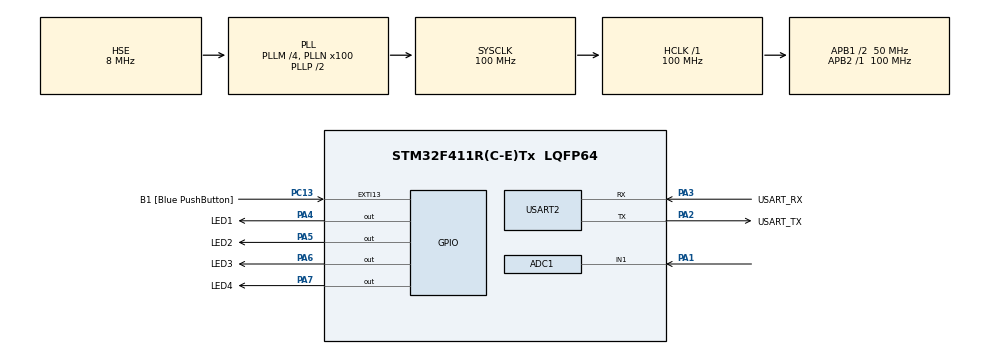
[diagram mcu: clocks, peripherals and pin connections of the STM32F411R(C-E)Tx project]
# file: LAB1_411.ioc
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ADC1.Channel-0\#ChannelRegularConversion=ADC_CHANNEL_1
ADC1.NbrOfConversionFlag=1
ADC1.Rank-0\#ChannelRegularConversion=1
ADC1.SamplingTime-0\#ChannelRegularConversion=ADC_SAMPLETIME_3CYCLES
ADC1.master=1
FREERTOS.INCLUDE_vTaskDelayUntil=1
FREERTOS.Tasks01=BlinkingLed1,0,512,Led1Start,Default,NULL,Dynamic,NULL,NULL;BlinkingLed2,-3,512,Led2Start,Default,NULL,Dynamic,NULL,NULL;BlinkingLed3,-3,512,Led3Start,Default,NULL,Dynamic,NULL,NULL;BlinkingLed4,-3,512,Led4Start,Default,NULL,Dynamic,NULL,NULL;TaskManager,-3,512,TaskManagerStart,Default,NULL,Dynamic,NULL,NULL
FREERTOS.configCHECK_FOR_STACK_OVERFLOW=2
FREERTOS.configENABLE_FPU=1
FREERTOS.configTOTAL_HEAP_SIZE=65536
FREERTOS.configUSE_IDLE_HOOK=1
FREERTOS.configUSE_NEWLIB_REENTRANT=1
FREERTOS.configUSE_POSIX_ERRNO=1
FREERTOS.configUSE_TICK_HOOK=1
Mcu.Family=STM32F4
Mcu.Name=STM32F411R(C-E)Tx
Mcu.Package=LQFP64
NVIC.EXTI15_10_IRQn=true\:5\:0\:false\:false\:true\:true\:true\:true\:true
NVIC.PriorityGroup=NVIC_PRIORITYGROUP_4
NVIC.TIM1_TRG_COM_TIM11_IRQn=true\:15\:0\:false\:false\:true\:false\:false\:true\:true
NVIC.TimeBase=TIM1_TRG_COM_TIM11_IRQn
NVIC.TimeBaseIP=TIM11
PA1.Signal=ADCx_IN1
PA13.GPIO_Label=TMS
PA13.Mode=Serial_Wire
PA13.Signal=SYS_JTMS-SWDIO
PA14.GPIO_Label=TCK
PA14.Mode=Serial_Wire
PA14.Signal=SYS_JTCK-SWCLK
PA2.GPIO_Label=USART_TX
PA2.Mode=Asynchronous
PA2.Signal=USART2_TX
PA3.GPIO_Label=USART_RX
PA3.Mode=Asynchronous
PA3.Signal=USART2_RX
PA4.GPIO_Label=LED1
PA4.Signal=GPIO_Output
PA5.GPIO_Label=LED2
PA5.Signal=GPIO_Output
PA6.GPIO_Label=LED3
PA6.Signal=GPIO_Output
PA7.GPIO_Label=LED4
PA7.Signal=GPIO_Output
PB3.GPIO_Label=SWO
PB3.Signal=SYS_JTDO-SWO
PC13-ANTI_TAMP.GPIO_Label=B1 [Blue PushButton]
PC13-ANTI_TAMP.GPIO_ModeDefaultEXTI=GPIO_MODE_IT_FALLING
PC13-ANTI_TAMP.Signal=GPXTI13
PC14-OSC32_IN.Mode=LSE-External-Oscillator
PC14-OSC32_IN.Signal=RCC_OSC32_IN
PC15-OSC32_OUT.Mode=LSE-External-Oscillator
PC15-OSC32_OUT.Signal=RCC_OSC32_OUT
PH0\ -\ OSC_IN.Mode=HSE-External-Clock-Source
PH0\ -\ OSC_IN.Signal=RCC_OSC_IN
PH1\ -\ OSC_OUT.Mode=HSE-External-Clock-Source
PH1\ -\ OSC_OUT.Signal=RCC_OSC_OUT
ProjectManager.HeapSize=0x200
ProjectManager.StackSize=0x400
ProjectManager.TargetToolchain=STM32CubeIDE
RCC.48MHZClocksFreq_Value=50000000
RCC.AHBFreq_Value=100000000
RCC.APB1CLKDivider=RCC_HCLK_DIV2
RCC.APB1Freq_Value=50000000
RCC.APB1TimFreq_Value=100000000
RCC.APB2Freq_Value=100000000
RCC.APB2TimFreq_Value=100000000
RCC.CortexFreq_Value=100000000
RCC.FLatency-AdvancedSettings=FLASH_LATENCY_3
RCC.HCLKFreq_Value=100000000
RCC.HSE_VALUE=8000000
RCC.HSI_VALUE=16000000
RCC.PLLM=4
RCC.PLLN=100
RCC.PLLSourceVirtual=RCC_PLLSOURCE_HSE
RCC.SYSCLKFreq_VALUE=100000000
RCC.SYSCLKSource=RCC_SYSCLKSOURCE_PLLCLK
RCC.VCOOutputFreq_Value=200000000
SH.ADCx_IN1.0=ADC1_IN1,IN1
USART2.VirtualMode=VM_ASYNC
VP_FREERTOS_VS_CMSIS_V1.Mode=CMSIS_V1
VP_SYS_VS_tim11.Mode=TIM11
board=NUCLEO-F411RE

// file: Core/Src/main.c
/* USER CODE BEGIN Header */
/**
  ******************************************************************************
  * @file           : main.c
  * @brief          : Main program body
  ******************************************************************************
  * @attention
  *
  * Copyright (c) 2026 STMicroelectronics.
  * All rights reserved.
  *
  * This software is licensed under terms that can be found in the LICENSE file
  * in the root directory of this software component.
  * If no LICENSE file comes with this software, it is provided AS-IS.
  *
  ******************************************************************************
  */
/* USER CODE END Header */
#include "main.h"
#include "cmsis_os.h"
#include "adc.h"
#include "usart.h"
#include "gpio.h"

void SystemClock_Config(void);
void MX_FREERTOS_Init(void);

/* USER CODE BEGIN 0 */
int __io_putchar(int ch){
	HAL_UART_Transmit(&huart2, (uint8_t *)&ch, 1,0xFFFF);
	return ch;
}

/* USER CODE END 0 */

int main(void)
{

  /* MCU Configuration--------------------------------------------------------*/

  /* Reset of all peripherals, Initializes the Flash interface and the Systick. */
  HAL_Init();

  /* Configure the system clock */
  SystemClock_Config();

  /* Initialize all configured peripherals */
  MX_GPIO_Init();
  MX_USART2_UART_Init();
  MX_ADC1_Init();

  /* Call init function for freertos objects (in cmsis_os2.c) */
  MX_FREERTOS_Init();

  /* Start scheduler */
  osKernelStart();

  /* We should never get here as control is now taken by the scheduler */

  /* Infinite loop */
  while (1)
  {

  }
}

void SystemClock_Config(void)
{
  RCC_OscInitTypeDef RCC_OscInitStruct = {0};
  RCC_ClkInitTypeDef RCC_ClkInitStruct = {0};

  /** Configure the main internal regulator output voltage
  */
  __HAL_RCC_PWR_CLK_ENABLE();
  __HAL_PWR_VOLTAGESCALING_CONFIG(PWR_REGULATOR_VOLTAGE_SCALE1);

  /** Initializes the RCC Oscillators according to the specified parameters
  * in the RCC_OscInitTypeDef structure.
  */
  RCC_OscInitStruct.OscillatorType = RCC_OSCILLATORTYPE_HSE;
  RCC_OscInitStruct.HSEState = RCC_HSE_BYPASS;
  RCC_OscInitStruct.PLL.PLLState = RCC_PLL_ON;
  RCC_OscInitStruct.PLL.PLLSource = RCC_PLLSOURCE_HSE;
  RCC_OscInitStruct.PLL.PLLM = 4;
  RCC_OscInitStruct.PLL.PLLN = 100;
  RCC_OscInitStruct.PLL.PLLP = RCC_PLLP_DIV2;
  RCC_OscInitStruct.PLL.PLLQ = 4;
  if (HAL_RCC_OscConfig(&RCC_OscInitStruct) != HAL_OK)
  {
    Error_Handler();
  }

  /** Initializes the CPU, AHB and APB buses clocks
  */
  RCC_ClkInitStruct.ClockType = RCC_CLOCKTYPE_HCLK|RCC_CLOCKTYPE_SYSCLK
                              |RCC_CLOCKTYPE_PCLK1|RCC_CLOCKTYPE_PCLK2;
  RCC_ClkInitStruct.SYSCLKSource = RCC_SYSCLKSOURCE_PLLCLK;
  RCC_ClkInitStruct.AHBCLKDivider = RCC_SYSCLK_DIV1;
  RCC_ClkInitStruct.APB1CLKDivider = RCC_HCLK_DIV2;
  RCC_ClkInitStruct.APB2CLKDivider = RCC_HCLK_DIV1;

  if (HAL_RCC_ClockConfig(&RCC_ClkInitStruct, FLASH_LATENCY_3) != HAL_OK)
  {
    Error_Handler();
  }
}

void HAL_TIM_PeriodElapsedCallback(TIM_HandleTypeDef *htim)
{
  if (htim->Instance == TIM11)
  {
    HAL_IncTick();
  }
}

void Error_Handler(void)
{
  __disable_irq();
  while (1)
  {
  }
}

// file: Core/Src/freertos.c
/* USER CODE BEGIN Header */
/**
  ******************************************************************************
  * File Name          : freertos.c
  * Description        : Code for freertos applications
  ******************************************************************************
  * @attention
  *
  * Copyright (c) 2026 STMicroelectronics.
  * All rights reserved.
  *
  * This software is licensed under terms that can be found in the LICENSE file
  * in the root directory of this software component.
  * If no LICENSE file comes with this software, it is provided AS-IS.
  *
  ******************************************************************************
  */
/* USER CODE END Header */

#include "FreeRTOS.h"
#include "task.h"
#include "main.h"
#include "cmsis_os.h"

/* USER CODE BEGIN Includes */
#include "adc.h"
/* USER CODE END Includes */

/* USER CODE BEGIN PTD */
uint16_t DiodeDelay = 100;
/* USER CODE END PTD */

/* USER CODE BEGIN Variables */
TaskHandle_t Handlery[5];
BaseType_t Returned[5];

/* USER CODE END Variables */
osThreadId BlinkingLed1Handle;
osThreadId BlinkingLed2Handle;
osThreadId BlinkingLed3Handle;
osThreadId BlinkingLed4Handle;
osThreadId TaskManagerHandle;

void Led1Start(void const * argument);
void Led2Start(void const * argument);
void Led3Start(void const * argument);
void Led4Start(void const * argument);
void TaskManagerStart(void const * argument);

void MX_FREERTOS_Init(void); /* (MISRA C 2004 rule 8.1) */

/* GetIdleTaskMemory prototype (linked to static allocation support) */
void vApplicationGetIdleTaskMemory( StaticTask_t **ppxIdleTaskTCBBuffer, StackType_t **ppxIdleTaskStackBuffer, uint32_t *pulIdleTaskStackSize );

/* Hook prototypes */
void vApplicationIdleHook(void);
void vApplicationTickHook(void);
void vApplicationStackOverflowHook(xTaskHandle xTask, signed char *pcTaskName);

/* USER CODE BEGIN 2 */
__weak void vApplicationIdleHook( void )
{
   /* vApplicationIdleHook() will only be called if configUSE_IDLE_HOOK is set
   to 1 in FreeRTOSConfig.h. It will be called on each iteration of the idle
   task. It is essential that code added to this hook function never attempts
   to block in any way (for example, call xQueueReceive() with a block time
   specified, or call vTaskDelay()). If the application makes use of the
   vTaskDelete() API function (as this demo application does) then it is also
   important that vApplicationIdleHook() is permitted to return to its calling
   function, because it is the responsibility of the idle task to clean up
   memory allocated by the kernel to any task that has since been deleted. */
}
/* USER CODE END 2 */

/* USER CODE BEGIN 3 */
__weak void vApplicationTickHook( void )
{
   /* This function will be called by each tick interrupt if
   configUSE_TICK_HOOK is set to 1 in FreeRTOSConfig.h. User code can be
   added here, but the tick hook is called from an interrupt context, so
   code must not attempt to block, and only the interrupt safe FreeRTOS API
   functions can be used (those that end in FromISR()). */
}
/* USER CODE END 3 */

/* USER CODE BEGIN 4 */
__weak void vApplicationStackOverflowHook(xTaskHandle xTask, signed char *pcTaskName)
{
   /* Run time stack overflow checking is performed if
   configCHECK_FOR_STACK_OVERFLOW is defined to 1 or 2. This hook function is
   called if a stack overflow is detected. */
}
/* USER CODE END 4 */

/* USER CODE BEGIN GET_IDLE_TASK_MEMORY */
static StaticTask_t xIdleTaskTCBBuffer;
static StackType_t xIdleStack[configMINIMAL_STACK_SIZE];

void vApplicationGetIdleTaskMemory( StaticTask_t **ppxIdleTaskTCBBuffer, StackType_t **ppxIdleTaskStackBuffer, uint32_t *pulIdleTaskStackSize )
{
  *ppxIdleTaskTCBBuffer = &xIdleTaskTCBBuffer;
  *ppxIdleTaskStackBuffer = &xIdleStack[0];
  *pulIdleTaskStackSize = configMINIMAL_STACK_SIZE;
  /* place for user code */
}
/* USER CODE END GET_IDLE_TASK_MEMORY */

void MX_FREERTOS_Init(void) {

  /* Create the thread(s) */
  /* definition and creation of BlinkingLed1 */
//  osThreadDef(BlinkingLed1, Led1Start, osPriorityNormal, 0, 512);
//  BlinkingLed1Handle = osThreadCreate(osThread(BlinkingLed1), NULL);
//
//  /* definition and creation of BlinkingLed2 */
//  osThreadDef(BlinkingLed2, Led2Start, osPriorityIdle, 0, 512);
//  BlinkingLed2Handle = osThreadCreate(osThread(BlinkingLed2), NULL);
//
//  /* definition and creation of BlinkingLed3 */
//  osThreadDef(BlinkingLed3, Led3Start, osPriorityIdle, 0, 512);
//  BlinkingLed3Handle = osThreadCreate(osThread(BlinkingLed3), NULL);
//
//  /* definition and creation of BlinkingLed4 */
//  osThreadDef(BlinkingLed4, Led4Start, osPriorityIdle, 0, 512);
//  BlinkingLed4Handle = osThreadCreate(osThread(BlinkingLed4), NULL);
//
//  /* definition and creation of TaskManager */
//  osThreadDef(TaskManager, TaskManagerStart, osPriorityIdle, 0, 512);
//  TaskManagerHandle = osThreadCreate(osThread(TaskManager), NULL);

  /* USER CODE BEGIN RTOS_THREADS */
  /* add threads, ... */
Returned[0] = xTaskCreate((TaskFunction_t)Led1Start,
		"BlinkingLed1",
		configMINIMAL_STACK_SIZE,
		NULL,
		5,
		&Handlery[0]);
if(Returned[0] != pdPASS){
	vTaskDelete(Handlery[0]);
}

Returned[1] = xTaskCreate((TaskFunction_t)Led2Start,
		"BlinkingLed2",
		configMINIMAL_STACK_SIZE,
		NULL,
		5,
		&Handlery[1]);
if(Returned[1] != pdPASS){
	vTaskDelete(Handlery[1]);
}

Returned[2] = xTaskCreate((TaskFunction_t)Led3Start,
		"BlinkingLed3",
		configMINIMAL_STACK_SIZE,
		NULL,
		5,
		&Handlery[2]);
if(Returned[2] != pdPASS){
	vTaskDelete(Handlery[2]);
}

Returned[3] = xTaskCreate((TaskFunction_t)Led4Start,
		"BlinkingLed4",
		configMINIMAL_STACK_SIZE,
		NULL,
		5,
		&Handlery[3]);
if(Returned[3] != pdPASS){
	vTaskDelete(Handlery[3]);
}

Returned[4] = xTaskCreate((TaskFunction_t)TaskManagerStart,
		"TaskManager",
		configMINIMAL_STACK_SIZE,
		Handlery,
		5,
		&Handlery[4]);
if(Returned[4] != pdPASS){
	vTaskDelete(Handlery[4]);
}
  /* USER CODE END RTOS_THREADS */

}

void Led1Start(void const * argument)
{
    TickType_t xLastWakeTime = xTaskGetTickCount();
    const TickType_t xFrequency = pdMS_TO_TICKS(1000);
    /* USER CODE BEGIN Led1Start */
    /* Infinite loop */
    for(;;)
    {
        printf("pierwsza dioda dziala\n");
        HAL_GPIO_TogglePin(LED1_GPIO_Port, LED1_Pin);
        vTaskDelayUntil(&xLastWakeTime, xFrequency);
    }
    /* USER CODE END Led1Start */
}
void Led2Start(void const * argument)
{
    TickType_t xLastWakeTime = xTaskGetTickCount();
    const TickType_t xFrequency = pdMS_TO_TICKS(2000);
  /* USER CODE BEGIN Led2Start */
  /* Infinite loop */
  for(;;)
  {
	  printf("druga dioda dziala\n");
	  HAL_GPIO_TogglePin(LED2_GPIO_Port, LED2_Pin);
      vTaskDelayUntil(&xLastWakeTime, xFrequency);
  }
  /* USER CODE END Led2Start */
}

void Led3Start(void const * argument)
{
    TickType_t xLastWakeTime = xTaskGetTickCount();
    const TickType_t xFrequency = pdMS_TO_TICKS(500);
  /* USER CODE BEGIN Led3Start */
  /* Infinite loop */
  for(;;)
  {
	  printf("trzecia dioda dziala\n");
	  HAL_GPIO_TogglePin(LED3_GPIO_Port, LED3_Pin);
      vTaskDelayUntil(&xLastWakeTime, xFrequency);
  }
  /* USER CODE END Led3Start */
}

void Led4Start(void const * argument)
{
    TickType_t xLastWakeTime = xTaskGetTickCount();
    const TickType_t xFrequency = pdMS_TO_TICKS(3000);
  /* USER CODE BEGIN Led4Start */
  /* Infinite loop */
  for(;;)
  {
	  printf("czwarta dioda dziala\n");
	  HAL_GPIO_TogglePin(LED4_GPIO_Port, LED4_Pin);
      vTaskDelayUntil(&xLastWakeTime, xFrequency);
  }
  /* USER CODE END Led4Start */
}

void TaskManagerStart(void const * argument)
{
  /* USER CODE BEGIN TaskManagerStart */
	TaskHandle_t *p = argument;
	uint8_t LosowaPierwsza;
	uint16_t LosowaDruga;
	uint8_t TablicaStanow[4] = {0,0,0,0};
	HAL_ADC_Start(&hadc1);
	HAL_ADC_PollForConversion(&hadc1, 10);
	uint32_t seed  = HAL_ADC_GetValue(&hadc1);
	srand(seed); //ustawienie ziarna generatora liczb losowych
  /* Infinite loop */
  for(;;)
  {
	  LosowaPierwsza = GetRandom(0,3);
	  LosowaDruga = GetRandom(0,10000);

	  if(TablicaStanow[LosowaPierwsza]==0){
		  vTaskSuspend(p[LosowaPierwsza]);
		  TablicaStanow[LosowaPierwsza] = 1;
	  }else{
		  vTaskResume(p[LosowaPierwsza]);
		  TablicaStanow[LosowaPierwsza] = 0;
	  }

      vTaskDelay(pdMS_TO_TICKS(LosowaDruga));
  }
  /* USER CODE END TaskManagerStart */
}

/* USER CODE BEGIN Application */
int GetRandom(int min, int max){
	return (rand() % (max - min + 1)) + min;
}

void HAL_GPIO_EXTI_Callback(uint16_t GPIO_Pin){
	if(GPIO_Pin == B1_Pin){
		if(DiodeDelay == 3000){
			DiodeDelay = 100;
		}else{
			DiodeDelay= DiodeDelay + 100;
		}
	}
}
/* USER CODE END Application */
